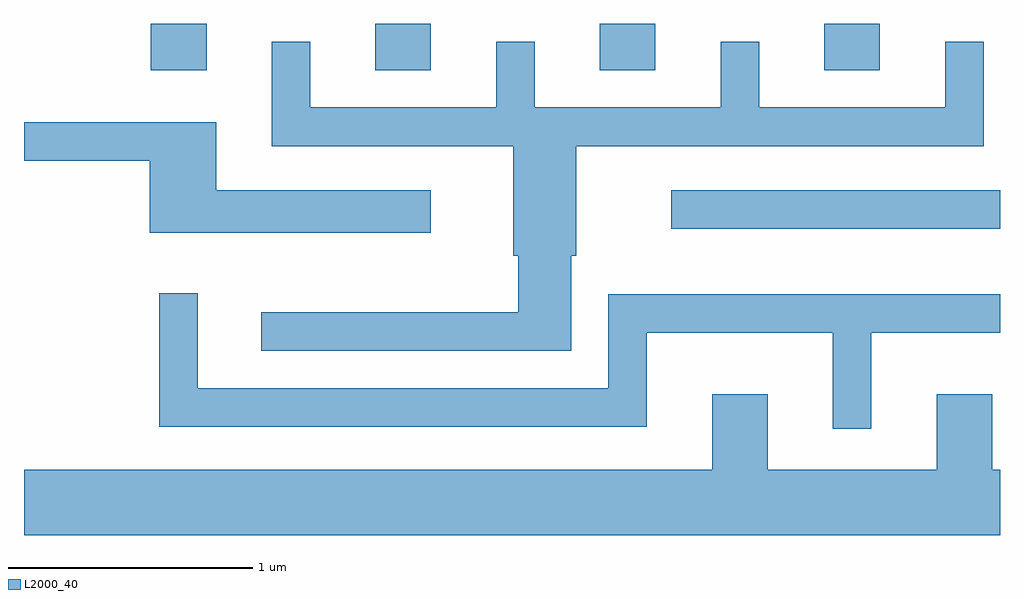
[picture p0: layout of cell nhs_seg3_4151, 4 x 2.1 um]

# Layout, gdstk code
import gdstk
lib = gdstk.Library(unit=1e-6, precision=1e-09)
def R(c, l, rs):  # rectangles x0, y0, x1, y1
    for r in rs: c.add(gdstk.rectangle(r[:2], r[2:], *l))
def A(c, l, x, y, w, h, nx, ny, dx, dy):  # array of equal rectangles
    R(c, l, [(x+i*dx, y+j*dy, x+i*dx+w, y+j*dy+h) for i in range(nx) for j in range(ny)])
def P(c, l, *ps):  # polygons
    for p in ps: c.add(gdstk.Polygon(p, *l))
L2000_40 = (2000, 40)

nhs_seg3_4151 = lib.new_cell('nhs_seg3_4151')
A(nhs_seg3_4151, L2000_40, 308.131, 1125.701, 0.228, 0.191, 4, 1, 0.92, 0)
R(nhs_seg3_4151, L2000_40, [(310.263,1125.051,311.611,1125.209)])
P(nhs_seg3_4151, L2000_40, [(309.854,1124.941),(309.874,1124.941),(309.874,1125.391),(311.544,1125.391),(311.544,1125.818),(311.386,1125.818),(311.386,1125.549),(310.624,1125.549),(310.624,1125.818),(310.466,1125.818),(310.466,1125.549),(309.704,1125.549),(309.704,1125.818),(309.546,1125.818),(309.546,1125.549),(308.784,1125.549),(308.784,1125.818),(308.626,1125.818),(308.626,1125.391),(309.616,1125.391),(309.616,1124.941),(309.636,1124.941),(309.636,1124.709),(308.583,1124.709),(308.583,1124.551),(309.854,1124.551)],
  [(309.279,1125.209),(308.399,1125.209),(308.399,1125.489),(307.611,1125.489),(307.611,1125.331),(308.126,1125.331),(308.126,1125.036),(309.279,1125.036)],
  [(311.084,1124.626),(311.611,1124.626),(311.611,1124.784),(310.006,1124.784),(310.006,1124.399),(308.324,1124.399),(308.324,1124.788),(308.166,1124.788),(308.166,1124.241),(310.164,1124.241),(310.164,1124.626),(310.926,1124.626),(310.926,1124.233),(311.084,1124.233)],
  [(311.611,1124.064),(311.579,1124.064),(311.579,1124.374),(311.351,1124.374),(311.351,1124.064),(310.659,1124.064),(310.659,1124.374),(310.431,1124.374),(310.431,1124.064),(307.611,1124.064),(307.611,1123.796),(311.611,1123.796)])

lib.write_gds('nhs_seg3_4151.gds')
